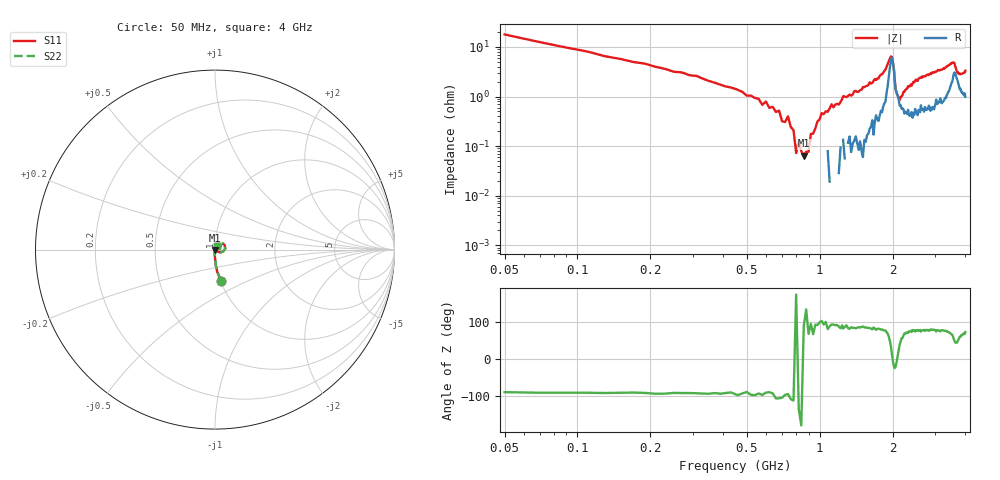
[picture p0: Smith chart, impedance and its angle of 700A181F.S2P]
!  American Technical Ceramics  Date:  3/13/98
!  One Norden Lane
!  Huntington Station,  NY.  11746-2102
!  Tel:  (516) 547-5700  Fax:  (516) 547-5748
!  Part Number  700A181F
!  Description: Porcelain, High Q, Low ESR
!  Application: Bypass, Coupling, Timing, Feedback
!  Tuning, Impedance Match, Blocking
# GHZ S DB R 50
! Freq  |S11|  S11 Ph  |S21|  S21 Ph  |S12|  S12 Ph  |S22|  S22 Ph
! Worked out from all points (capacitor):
!   201 points, 50 MHz to 4 GHz, reference 50 ohm
!   read as one part in series: C = 179 pF near 70 MHz
!   lowest |Z| = 64.4 mohm at 860 MHz (marker M1)
!   series resonance near 799.2 MHz, so ESL is about 220 pH
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0.05  -15.06 -79.2  -0.17 10.1  -0.17 10.1  -15.06 -79.2
0.09  -20.26 -86.3  -0.05 5.6  -0.05 5.6  -20.26 -86.3
0.21  -27.89 -91.4  0.01 2.3  0.01 2.3  -27.89 -91.4
0.72  -44.88 -108.4  -0.01 0.0  -0.01 0.0  -44.88 -108.4
0.82  -48.41 -117.6  0.00 -0.1  0.00 -0.1  -48.41 -117.6
0.86  -52.69 -119.3  -0.01 -0.2  -0.01 -0.2  -52.69 -119.3
0.9  -52.30 -135.3  -0.02 -0.2  -0.02 -0.2  -52.30 -135.3
0.94  -58.69 -141.7  -0.02 -0.2  -0.02 -0.2  -58.69 -141.7
1  -58.17 152.2  0.00 -0.4  0.00 -0.4  -58.17 152.2
1.14  -48.44 99.1  0.00 -0.5  0.00 -0.5  -48.44 99.1
1.37  -41.92 89.2  -0.02 -0.8  -0.02 -0.8  -41.92 89.2
1.75  -33.95 79.5  -0.03 -1.5  -0.03 -1.5  -33.95 79.5
1.97  -24.51 26.4  -0.44 -2.4  -0.44 -2.4  -24.51 26.4
2.03  -29.31 -27.3  -0.27 0.5  -0.27 0.5  -29.31 -27.3
2.08  -38.59 -26.6  -0.11 -0.1  -0.11 -0.1  -38.59 -26.6
2.14  -44.02 3.6  -0.06 -0.6  -0.06 -0.6  -44.02 3.6
2.38  -36.61 69.5  -0.03 -1.1  -0.03 -1.1  -36.61 69.5
2.7  -33.32 70.5  -0.03 -1.6  -0.03 -1.6  -33.32 70.5
3.35  -29.09 66.4  -0.08 -2.5  -0.08 -2.5  -29.09 66.4
3.57  -27.18 46.4  -0.21 -2.6  -0.21 -2.6  -27.18 46.4
3.76  -32.90 38.3  -0.13 -1.8  -0.13 -1.8  -32.90 38.3
4  -32.22 59.0  -0.07 -2.4  -0.07 -2.4  -32.22 59.0
